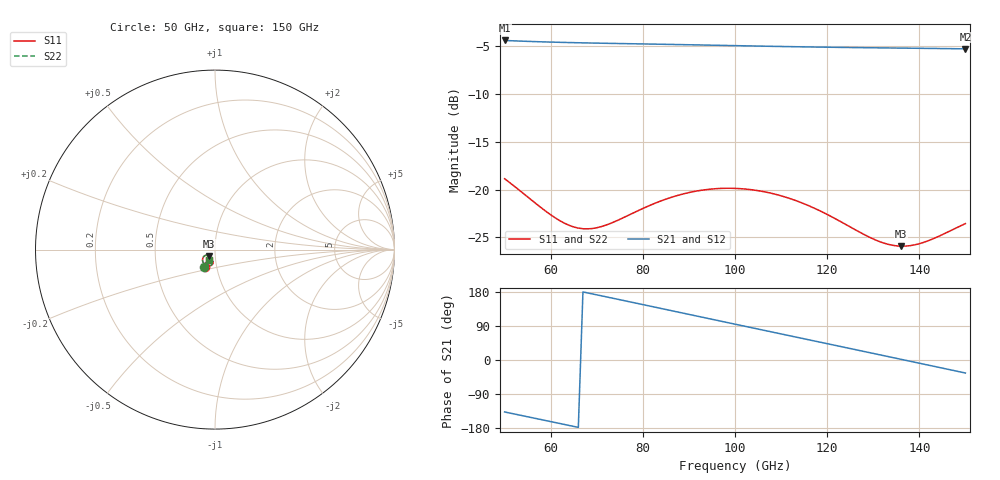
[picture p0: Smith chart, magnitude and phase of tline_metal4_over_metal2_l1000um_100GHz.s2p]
#  GHZ S DB R 50
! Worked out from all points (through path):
!   101 points, 50 GHz to 150 GHz, reference 50 ohm
!   highest |S21| = -4.39 dB at 50 GHz (marker M1); lowest = -5.3 dB at 150 GHz (marker M2)
!   group delay of S21, straight-line fit = 7.15 ps
!   lowest |S11| = -25.9 dB at 136 GHz (marker M3), VSWR 1.11, Z = 46.4 - j3.31 ohm
!   |S11| at or under -10 dB: start of sweep to end of sweep
!   |S22| runs from -25.8 to -18.8 dB; largest |S21 - S12| = 6.8e-14
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50  -18.87 -120.7  -4.39 -137.1  -4.39 -137.1  -18.83 -120.9
55  -20.78 -124.0  -4.48 -149.8  -4.48 -149.8  -20.72 -124.2
59  -22.30 -122.9  -4.54 -160.0  -4.54 -160.0  -22.24 -123.2
63  -23.53 -117.9  -4.60 -170.2  -4.60 -170.2  -23.47 -118.5
67  -24.11 -110.3  -4.64 179.6  -4.64 179.6  -24.07 -111.0
71  -23.88 -103.1  -4.68 169.4  -4.68 169.4  -23.87 -103.9
75  -23.13 -99.0  -4.71 159.1  -4.71 159.1  -23.14 -99.7
79  -22.21 -98.4  -4.74 148.8  -4.74 148.8  -22.24 -99.1
84  -21.18 -101.4  -4.79 135.9  -4.79 135.9  -21.22 -102.0
92  -20.13 -111.2  -4.86 115.2  -4.86 115.2  -20.16 -111.7
96  -19.91 -117.2  -4.89 104.9  -4.89 104.9  -19.94 -117.6
100  -19.88 -123.4  -4.93 94.6  -4.93 94.6  -19.91 -123.8
104  -20.05 -129.5  -4.97 84.3  -4.97 84.3  -20.07 -129.9
108  -20.41 -135.4  -5.00 74.0  -5.00 74.0  -20.42 -135.7
112  -20.96 -140.6  -5.04 63.7  -5.04 63.7  -20.96 -141.0
117  -21.91 -145.9  -5.07 50.8  -5.07 50.8  -21.90 -146.2
126  -24.19 -148.4  -5.13 27.7  -5.13 27.7  -24.13 -148.7
134  -25.83 -138.9  -5.18 7.0  -5.18 7.0  -25.74 -139.5
136  -25.94 -135.2  -5.19 1.9  -5.19 1.9  -25.85 -135.9
139  -25.80 -129.7  -5.20 -5.9  -5.20 -5.9  -25.71 -130.6
143  -25.16 -124.2  -5.23 -16.2  -5.23 -16.2  -25.09 -125.1
150  -23.57 -121.5  -5.27 -34.3  -5.27 -34.3  -23.52 -122.4
